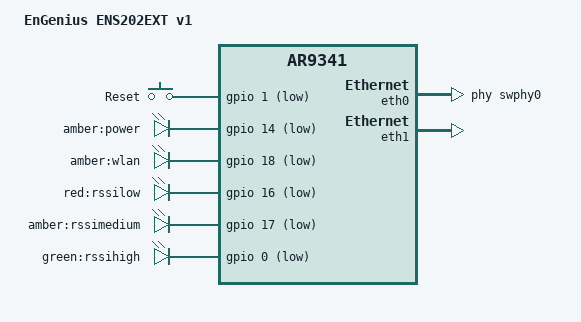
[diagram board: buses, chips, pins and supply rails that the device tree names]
// SPDX-License-Identifier: GPL-2.0-or-later OR MIT

#include "ar934x_senao_ap.dtsi"

/ {
	compatible = "engenius,ens202ext-v1", "qca,ar9341";
	model = "EnGenius ENS202EXT v1";

	keys {
		compatible = "gpio-keys";

		reset {
			label = "Reset";
			linux,code = <KEY_RESTART>;
			gpios = <&gpio 1 GPIO_ACTIVE_LOW>;
			debounce-interval = <60>;
		};
	};

	leds {
		compatible = "gpio-leds";

		led_power: power {
			label = "amber:power";
			gpios = <&gpio 14 GPIO_ACTIVE_LOW>;
			default-state = "on";
		};

		wlan {
			label = "amber:wlan";
			gpios = <&gpio 18 GPIO_ACTIVE_LOW>;
			linux,default-trigger = "phy0tpt";
		};

		rssilow {
			label = "red:rssilow";
			gpios = <&gpio 16 GPIO_ACTIVE_LOW>;
		};

		rssimedium {
			label = "amber:rssimedium";
			gpios = <&gpio 17 GPIO_ACTIVE_LOW>;
		};

		rssihigh {
			label = "green:rssihigh";
			gpios = <&gpio 0 GPIO_ACTIVE_LOW>;
		};
	};
};

&eth0 {
	status = "okay";

	mtd-mac-address = <&art 0x0>;

	phy-handle = <&swphy0>;
};

&eth1 {
	status = "okay";

	mtd-mac-address = <&art 0x0>;

	gmac-config {
		device = <&gmac>;
		switch-phy-swap = <1>;
	};
};
